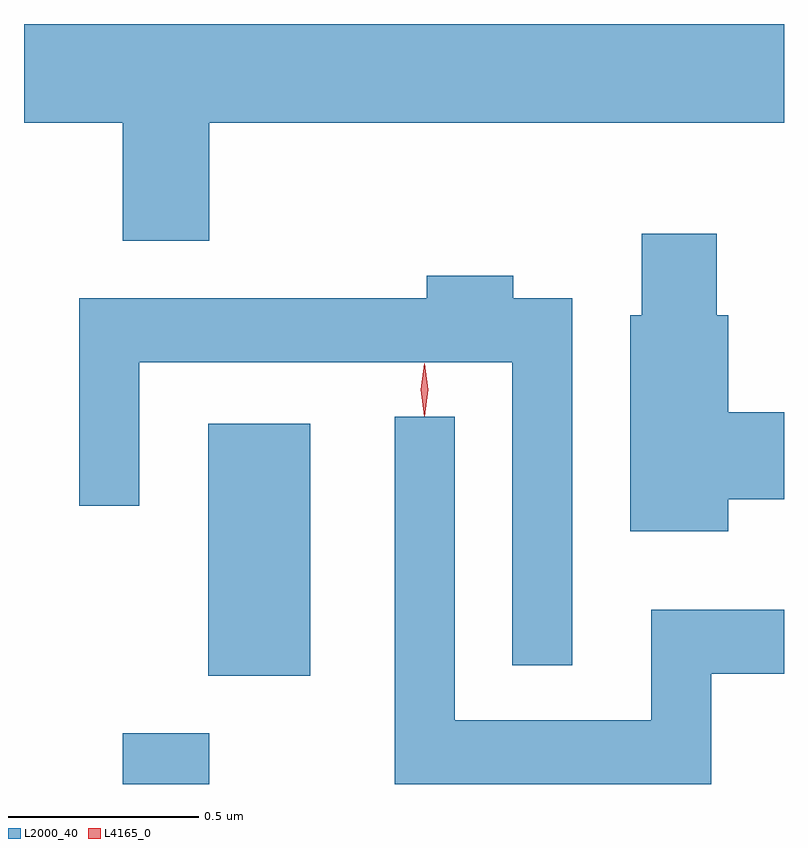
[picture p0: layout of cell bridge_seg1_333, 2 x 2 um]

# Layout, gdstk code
import gdstk
lib = gdstk.Library(unit=1e-6, precision=1e-09)
def R(c, l, rs):  # rectangles x0, y0, x1, y1
    for r in rs: c.add(gdstk.rectangle(r[:2], r[2:], *l))
def P(c, l, *ps):  # polygons
    for p in ps: c.add(gdstk.Polygon(p, *l))
L2000_40 = (2000, 40)
L4165_0 = (4165, 0)

bridge_seg1_333 = lib.new_cell('bridge_seg1_333')
R(bridge_seg1_333, L2000_40, [(922.481,888.956,922.709,889.089), (922.706,889.241,922.974,889.904)])
P(bridge_seg1_333, L2000_40, [(922.709,890.696),(924.221,890.696),(924.221,890.956),(922.221,890.956),(922.221,890.696),(922.481,890.696),(922.481,890.386),(922.709,890.386)],
  [(924.074,889.706),(924.221,889.706),(924.221,889.934),(924.074,889.934),(924.074,890.189),(924.044,890.189),(924.044,890.404),(923.846,890.404),(923.846,890.189),(923.816,890.189),(923.816,889.621),(924.074,889.621)],
  [(923.664,890.234),(923.509,890.234),(923.509,890.294),(923.281,890.294),(923.281,890.234),(922.366,890.234),(922.366,889.688),(922.524,889.688),(922.524,890.066),(923.506,890.066),(923.506,889.268),(923.664,889.268)],
  [(924.029,889.246),(924.221,889.246),(924.221,889.414),(923.871,889.414),(923.871,889.124),(923.354,889.124),(923.354,889.923),(923.196,889.923),(923.196,888.956),(924.029,888.956)])
P(bridge_seg1_333, L4165_0, [(923.274,889.924),(923.265,889.993),(923.274,890.062),(923.275,890.063),(923.275,890.062),(923.285,889.993),(923.275,889.924),(923.275,889.924)],
  [(923.274,889.927),(923.265,889.994),(923.274,890.06),(923.274,890.06),(923.275,890.06),(923.284,889.994),(923.275,889.927),(923.275,889.927)])

lib.write_gds('bridge_seg1_333.gds')
